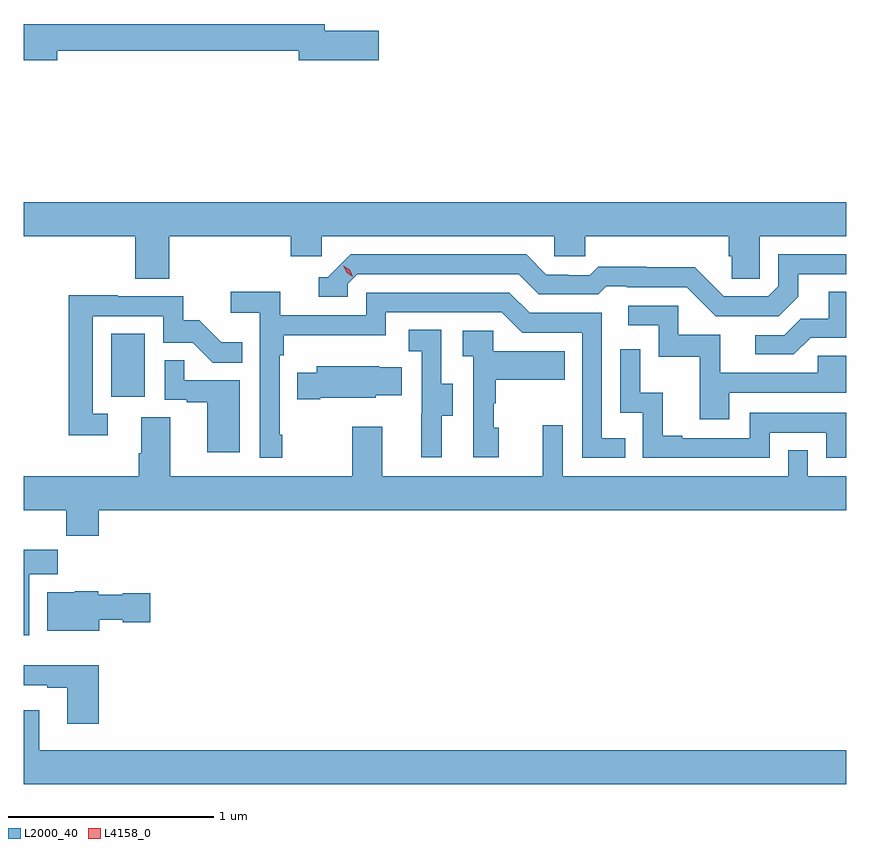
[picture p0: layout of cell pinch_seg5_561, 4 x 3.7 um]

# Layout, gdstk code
import gdstk
lib = gdstk.Library(unit=1e-6, precision=1e-09)
def R(c, l, rs):  # rectangles x0, y0, x1, y1
    for r in rs: c.add(gdstk.rectangle(r[:2], r[2:], *l))
def P(c, l, *ps):  # polygons
    for p in ps: c.add(gdstk.Polygon(p, *l))
L2000_40 = (2000, 40)
L4158_0 = (4158, 0)

pinch_seg5_561 = lib.new_cell('pinch_seg5_561')
R(pinch_seg5_561, L2000_40, [(996.488,843.99,996.652,844.297)])
P(pinch_seg5_561, L2000_40, [(996.226,845.674),(997.4,845.674),(997.4,845.627),(997.789,845.627),(997.789,845.769),(997.528,845.769),(997.528,845.803),(996.063,845.803),(996.063,845.627),(996.226,845.627)],
  [(996.77,844.772),(997.361,844.772),(997.361,844.674),(997.512,844.674),(997.512,844.772),(998.643,844.772),(998.643,844.674),(998.793,844.674),(998.793,844.772),(999.491,844.772),(999.491,844.674),(999.505,844.674),(999.505,844.564),(999.642,844.564),(999.642,844.772),(1000.063,844.772),(1000.063,844.936),(996.063,844.936),(996.063,844.772),(996.605,844.772),(996.605,844.564),(996.77,844.564)],
  [(999.829,844.477),(999.829,844.587),(1000.063,844.587),(1000.063,844.683),(999.732,844.683),(999.732,844.527),(999.684,844.479),(999.468,844.479),(999.326,844.621),(999.09,844.621),(999.09,844.624),(998.857,844.624),(998.815,844.581),(998.712,844.581),(998.712,844.584),(998.605,844.584),(998.506,844.683),(997.653,844.683),(997.542,844.572),(997.499,844.572),(997.499,844.476),(997.638,844.476),(997.638,844.539),(997.686,844.587),(998.469,844.587),(998.568,844.488),(998.857,844.488),(998.896,844.527),(998.995,844.527),(998.995,844.524),(999.288,844.524),(999.429,844.383),(999.735,844.383)],
  [(999.889,844.278),(1000.063,844.278),(1000.063,844.502),(999.977,844.502),(999.977,844.37),(999.842,844.37),(999.762,844.29),(999.621,844.29),(999.621,844.197),(999.808,844.197)],
  [(997.321,843.805),(997.308,843.805),(997.308,844.193),(997.328,844.193),(997.328,844.289),(997.824,844.289),(997.824,844.401),(998.388,844.401),(998.487,844.302),(998.778,844.302),(998.778,843.693),(998.987,843.693),(998.987,843.789),(998.874,843.789),(998.874,844.398),(998.524,844.398),(998.425,844.497),(997.728,844.497),(997.728,844.386),(997.31,844.386),(997.31,844.502),(997.071,844.502),(997.071,844.4),(997.212,844.4),(997.212,843.693),(997.321,843.693)],
  [(996.472,843.909),(996.399,843.909),(996.399,844.383),(996.741,844.383),(996.741,844.254),(996.885,844.254),(996.983,844.156),(997.127,844.156),(997.127,844.255),(997.023,844.255),(996.916,844.362),(996.84,844.362),(996.84,844.479),(996.521,844.479),(996.521,844.484),(996.283,844.484),(996.283,843.804),(996.472,843.804)],
  [(999.493,844.011),(1000.062,844.011),(1000.062,844.191),(999.925,844.191),(999.925,844.107),(999.451,844.107),(999.451,844.293),(999.246,844.293),(999.246,844.434),(999.003,844.434),(999.003,844.338),(999.15,844.338),(999.15,844.185),(999.349,844.185),(999.349,843.882),(999.493,843.882)],
  [(998.095,843.898),(998.149,843.898),(998.149,844.053),(998.094,844.053),(998.094,844.316),(997.935,844.316),(997.935,844.213),(997.998,844.213),(997.998,843.909),(997.997,843.909),(997.997,843.696),(998.095,843.696)],
  [(998.374,843.84),(998.349,843.84),(998.349,843.959),(998.359,843.959),(998.359,844.073),(998.693,844.073),(998.693,844.213),(998.346,844.213),(998.346,844.311),(998.199,844.311),(998.199,844.187),(998.25,844.187),(998.25,843.696),(998.374,843.696)],
  [(999.69,843.816),(999.966,843.816),(999.966,843.693),(1000.063,843.693),(1000.063,843.789),(1000.062,843.789),(1000.062,843.912),(999.594,843.912),(999.594,843.789),(999.265,843.789),(999.265,843.802),(999.17,843.802),(999.17,844.01),(999.06,844.01),(999.06,844.222),(998.964,844.222),(998.964,843.912),(999.072,843.912),(999.072,843.693),(999.69,843.693)],
  [(997.114,844.071),(996.845,844.071),(996.845,844.169),(996.75,844.169),(996.75,843.975),(996.857,843.975),(996.857,843.963),(996.956,843.963),(996.956,843.72),(997.114,843.72)],
  [(997.504,843.986),(997.776,843.986),(997.776,843.998),(997.901,843.998),(997.901,844.135),(997.793,844.135),(997.793,844.138),(997.487,844.138),(997.487,844.108),(997.393,844.108),(997.393,843.979),(997.504,843.979)],
  [(1000.063,843.604),(999.876,843.604),(999.876,843.731),(999.78,843.731),(999.78,843.604),(998.685,843.604),(998.685,843.853),(998.588,843.853),(998.588,843.604),(997.807,843.604),(997.807,843.844),(997.66,843.844),(997.66,843.604),(996.775,843.604),(996.775,843.89),(996.635,843.89),(996.635,843.716),(996.623,843.716),(996.623,843.604),(996.063,843.604),(996.063,843.44),(996.271,843.44),(996.271,843.316),(996.428,843.316),(996.428,843.44),(1000.063,843.44)],
  [(996.091,843.128),(996.23,843.128),(996.23,843.247),(996.063,843.247),(996.063,842.832),(996.091,842.832)],
  [(996.43,842.906),(996.546,842.906),(996.546,842.894),(996.679,842.894),(996.679,843.036),(996.546,843.036),(996.546,843.028),(996.426,843.028),(996.426,843.046),(996.312,843.046),(996.312,843.04),(996.179,843.04),(996.179,842.852),(996.43,842.852)],
  [(996.428,842.686),(996.063,842.686),(996.063,842.589),(996.179,842.589),(996.179,842.577),(996.275,842.577),(996.275,842.4),(996.428,842.4)],
  [(1000.063,842.272),(996.139,842.272),(996.139,842.467),(996.063,842.467),(996.063,842.108),(1000.063,842.108)])
P(pinch_seg5_561, L4158_0, [(997.663,844.574),(997.633,844.594),(997.617,844.627),(997.617,844.627),(997.618,844.627),(997.648,844.607),(997.663,844.575),(997.663,844.574)])

lib.write_gds('pinch_seg5_561.gds')
